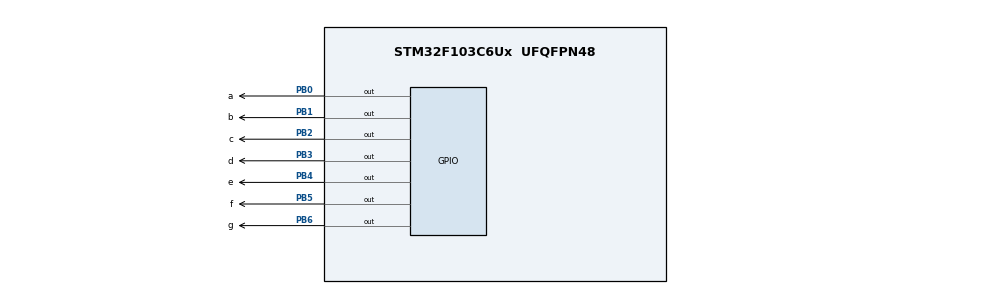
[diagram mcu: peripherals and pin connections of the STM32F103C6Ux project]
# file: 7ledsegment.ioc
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Mcu.Family=STM32F1
Mcu.Name=STM32F103C6Ux
Mcu.Package=UFQFPN48
NVIC.PriorityGroup=NVIC_PRIORITYGROUP_4
PB0.GPIO_Label=a
PB0.Signal=GPIO_Output
PB1.GPIO_Label=b
PB1.Signal=GPIO_Output
PB2.GPIO_Label=c
PB2.Signal=GPIO_Output
PB3.GPIO_Label=d
PB3.Signal=GPIO_Output
PB4.GPIO_Label=e
PB4.Signal=GPIO_Output
PB5.GPIO_Label=f
PB5.Signal=GPIO_Output
PB6.GPIO_Label=g
PB6.Signal=GPIO_Output
ProjectManager.HeapSize=0x200
ProjectManager.StackSize=0x400
ProjectManager.TargetToolchain=STM32CubeIDE
RCC.APB1Freq_Value=8000000
RCC.APB2Freq_Value=8000000
VP_SYS_VS_ND.Mode=No_Debug
board=custom

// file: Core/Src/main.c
/* USER CODE BEGIN Header */
/**
  ******************************************************************************
  * @file           : main.c
  * @brief          : Main program body
  ******************************************************************************
  * @attention
  *
  * <h2><center>&copy; Copyright (c) 2022 STMicroelectronics.
  * All rights reserved.</center></h2>
  *
  * This software component is licensed by ST under BSD 3-Clause license,
  * the "License"; You may not use this file except in compliance with the
  * License. You may obtain a copy of the License at:
  *                        opensource.org/licenses/BSD-3-Clause
  *
  ******************************************************************************
  */
/* USER CODE END Header */
#include "main.h"

void SystemClock_Config(void);
static void MX_GPIO_Init(void);

/* USER CODE BEGIN 0 */
void display7segment(int num);
/* USER CODE END 0 */

int main(void)
{

  /* MCU Configuration--------------------------------------------------------*/

  /* Reset of all peripherals, Initializes the Flash interface and the Systick. */
  HAL_Init();

  /* Configure the system clock */
  SystemClock_Config();

  /* Initialize all configured peripherals */
  MX_GPIO_Init();

  /* Infinite loop */
  /* USER CODE BEGIN WHILE */
  int counter = 0;
  while (1)
  {
    /* USER CODE END WHILE */

    /* USER CODE BEGIN 3 */
	  if (counter >= 10) counter = 0;
	  display7segment(counter++);
	  HAL_Delay(1000);
  }
  /* USER CODE END 3 */
}

void SystemClock_Config(void)
{
  RCC_OscInitTypeDef RCC_OscInitStruct = {0};
  RCC_ClkInitTypeDef RCC_ClkInitStruct = {0};

  /** Initializes the RCC Oscillators according to the specified parameters
  * in the RCC_OscInitTypeDef structure.
  */
  RCC_OscInitStruct.OscillatorType = RCC_OSCILLATORTYPE_HSI;
  RCC_OscInitStruct.HSIState = RCC_HSI_ON;
  RCC_OscInitStruct.HSICalibrationValue = RCC_HSICALIBRATION_DEFAULT;
  RCC_OscInitStruct.PLL.PLLState = RCC_PLL_NONE;
  if (HAL_RCC_OscConfig(&RCC_OscInitStruct) != HAL_OK)
  {
    Error_Handler();
  }
  /** Initializes the CPU, AHB and APB buses clocks
  */
  RCC_ClkInitStruct.ClockType = RCC_CLOCKTYPE_HCLK|RCC_CLOCKTYPE_SYSCLK
                              |RCC_CLOCKTYPE_PCLK1|RCC_CLOCKTYPE_PCLK2;
  RCC_ClkInitStruct.SYSCLKSource = RCC_SYSCLKSOURCE_HSI;
  RCC_ClkInitStruct.AHBCLKDivider = RCC_SYSCLK_DIV1;
  RCC_ClkInitStruct.APB1CLKDivider = RCC_HCLK_DIV1;
  RCC_ClkInitStruct.APB2CLKDivider = RCC_HCLK_DIV1;

  if (HAL_RCC_ClockConfig(&RCC_ClkInitStruct, FLASH_LATENCY_0) != HAL_OK)
  {
    Error_Handler();
  }
}

static void MX_GPIO_Init(void)
{
  GPIO_InitTypeDef GPIO_InitStruct = {0};

  /* GPIO Ports Clock Enable */
  __HAL_RCC_GPIOB_CLK_ENABLE();

  /*Configure GPIO pin Output Level */
  HAL_GPIO_WritePin(GPIOB, a_Pin|b_Pin|c_Pin|d_Pin
                          |e_Pin|f_Pin|g_Pin, GPIO_PIN_RESET);

  /*Configure GPIO pins : a_Pin b_Pin c_Pin d_Pin
                           e_Pin f_Pin g_Pin */
  GPIO_InitStruct.Pin = a_Pin|b_Pin|c_Pin|d_Pin
                          |e_Pin|f_Pin|g_Pin;
  GPIO_InitStruct.Mode = GPIO_MODE_OUTPUT_PP;
  GPIO_InitStruct.Pull = GPIO_NOPULL;
  GPIO_InitStruct.Speed = GPIO_SPEED_FREQ_LOW;
  HAL_GPIO_Init(GPIOB, &GPIO_InitStruct);

}

/* USER CODE BEGIN 4 */
void display7segment(int num){
	if (num == 0){ /*Implement 0 on 7-segment led*/
		HAL_GPIO_WritePin(a_GPIO_Port, a_Pin, RESET);
		HAL_GPIO_WritePin(b_GPIO_Port, b_Pin, RESET);
		HAL_GPIO_WritePin(c_GPIO_Port, c_Pin, RESET);
		HAL_GPIO_WritePin(d_GPIO_Port, d_Pin, RESET);
		HAL_GPIO_WritePin(e_GPIO_Port, e_Pin, RESET);
		HAL_GPIO_WritePin(f_GPIO_Port, f_Pin, RESET);
		HAL_GPIO_WritePin(g_GPIO_Port, g_Pin, SET);
	}
	if (num == 1){/*Implement 1 on 7-segment led*/
		HAL_GPIO_WritePin(a_GPIO_Port, a_Pin, SET);
		HAL_GPIO_WritePin(b_GPIO_Port, b_Pin, RESET);
		HAL_GPIO_WritePin(c_GPIO_Port, c_Pin, RESET);
		HAL_GPIO_WritePin(d_GPIO_Port, d_Pin, SET);
		HAL_GPIO_WritePin(e_GPIO_Port, e_Pin, SET);
		HAL_GPIO_WritePin(f_GPIO_Port, f_Pin, SET);
		HAL_GPIO_WritePin(g_GPIO_Port, g_Pin, SET);
	}
	if (num == 2){ /*Implement 2 on 7-segment led*/
		HAL_GPIO_WritePin(a_GPIO_Port, a_Pin, RESET);
		HAL_GPIO_WritePin(b_GPIO_Port, b_Pin, RESET);
		HAL_GPIO_WritePin(c_GPIO_Port, c_Pin, SET);
		HAL_GPIO_WritePin(d_GPIO_Port, d_Pin, RESET);
		HAL_GPIO_WritePin(e_GPIO_Port, e_Pin, RESET);
		HAL_GPIO_WritePin(f_GPIO_Port, f_Pin, SET);
		HAL_GPIO_WritePin(g_GPIO_Port, g_Pin, RESET);
	}
	if (num == 3){ /*Implement 3 on 7-segment led*/
		HAL_GPIO_WritePin(a_GPIO_Port, a_Pin, RESET);
		HAL_GPIO_WritePin(b_GPIO_Port, b_Pin, RESET);
		HAL_GPIO_WritePin(c_GPIO_Port, c_Pin, RESET);
		HAL_GPIO_WritePin(d_GPIO_Port, d_Pin, RESET);
		HAL_GPIO_WritePin(e_GPIO_Port, e_Pin, SET);
		HAL_GPIO_WritePin(f_GPIO_Port, f_Pin, SET);
		HAL_GPIO_WritePin(g_GPIO_Port, g_Pin, RESET);
	}
	if (num == 4){ /*Implement 4 on 7-segment led*/
		HAL_GPIO_WritePin(a_GPIO_Port, a_Pin, SET);
		HAL_GPIO_WritePin(b_GPIO_Port, b_Pin, RESET);
		HAL_GPIO_WritePin(c_GPIO_Port, c_Pin, RESET);
		HAL_GPIO_WritePin(d_GPIO_Port, d_Pin, SET);
		HAL_GPIO_WritePin(e_GPIO_Port, e_Pin, SET);
		HAL_GPIO_WritePin(f_GPIO_Port, f_Pin, RESET);
		HAL_GPIO_WritePin(g_GPIO_Port, g_Pin, RESET);
	}
	if (num == 5){ /*Implement 5 on 7-segment led*/
		HAL_GPIO_WritePin(a_GPIO_Port, a_Pin, RESET);
		HAL_GPIO_WritePin(b_GPIO_Port, b_Pin, SET);
		HAL_GPIO_WritePin(c_GPIO_Port, c_Pin, RESET);
		HAL_GPIO_WritePin(d_GPIO_Port, d_Pin, RESET);
		HAL_GPIO_WritePin(e_GPIO_Port, e_Pin, SET);
		HAL_GPIO_WritePin(f_GPIO_Port, f_Pin, RESET);
		HAL_GPIO_WritePin(g_GPIO_Port, g_Pin, RESET);
	}
	if (num == 6){ /*Implement 6 on 7-segment led*/
		HAL_GPIO_WritePin(a_GPIO_Port, a_Pin, RESET);
		HAL_GPIO_WritePin(b_GPIO_Port, b_Pin, SET);
		HAL_GPIO_WritePin(c_GPIO_Port, c_Pin, RESET);
		HAL_GPIO_WritePin(d_GPIO_Port, d_Pin, RESET);
		HAL_GPIO_WritePin(e_GPIO_Port, e_Pin, RESET);
		HAL_GPIO_WritePin(f_GPIO_Port, f_Pin, RESET);
		HAL_GPIO_WritePin(g_GPIO_Port, g_Pin, RESET);
	}
	if (num == 7){ /*Implement 7 on 7-segment led*/
		HAL_GPIO_WritePin(a_GPIO_Port, a_Pin, RESET);
		HAL_GPIO_WritePin(b_GPIO_Port, b_Pin, RESET);
		HAL_GPIO_WritePin(c_GPIO_Port, c_Pin, RESET);
		HAL_GPIO_WritePin(d_GPIO_Port, d_Pin, SET);
		HAL_GPIO_WritePin(e_GPIO_Port, e_Pin, SET);
		HAL_GPIO_WritePin(f_GPIO_Port, f_Pin, SET);
		HAL_GPIO_WritePin(g_GPIO_Port, g_Pin, SET);
	}
	if (num == 8){ /*Implement 8 on 7-segment led*/
		HAL_GPIO_WritePin(a_GPIO_Port, a_Pin, RESET);
		HAL_GPIO_WritePin(b_GPIO_Port, b_Pin, RESET);
		HAL_GPIO_WritePin(c_GPIO_Port, c_Pin, RESET);
		HAL_GPIO_WritePin(d_GPIO_Port, d_Pin, RESET);
		HAL_GPIO_WritePin(e_GPIO_Port, e_Pin, RESET);
		HAL_GPIO_WritePin(f_GPIO_Port, f_Pin, RESET);
		HAL_GPIO_WritePin(g_GPIO_Port, g_Pin, RESET);
	}
	if (num == 9){ /*Implement 9 on 7-segment led*/
		HAL_GPIO_WritePin(a_GPIO_Port, a_Pin, RESET);
		HAL_GPIO_WritePin(b_GPIO_Port, b_Pin, RESET);
		HAL_GPIO_WritePin(c_GPIO_Port, c_Pin, RESET);
		HAL_GPIO_WritePin(d_GPIO_Port, d_Pin, RESET);
		HAL_GPIO_WritePin(e_GPIO_Port, e_Pin, SET);
		HAL_GPIO_WritePin(f_GPIO_Port, f_Pin, RESET);
		HAL_GPIO_WritePin(g_GPIO_Port, g_Pin, RESET);
	}
}
/* USER CODE END 4 */

void Error_Handler(void)
{
  __disable_irq();
  while (1)
  {
  }
}

/************************ (C) COPYRIGHT STMicroelectronics *****END OF FILE****/
